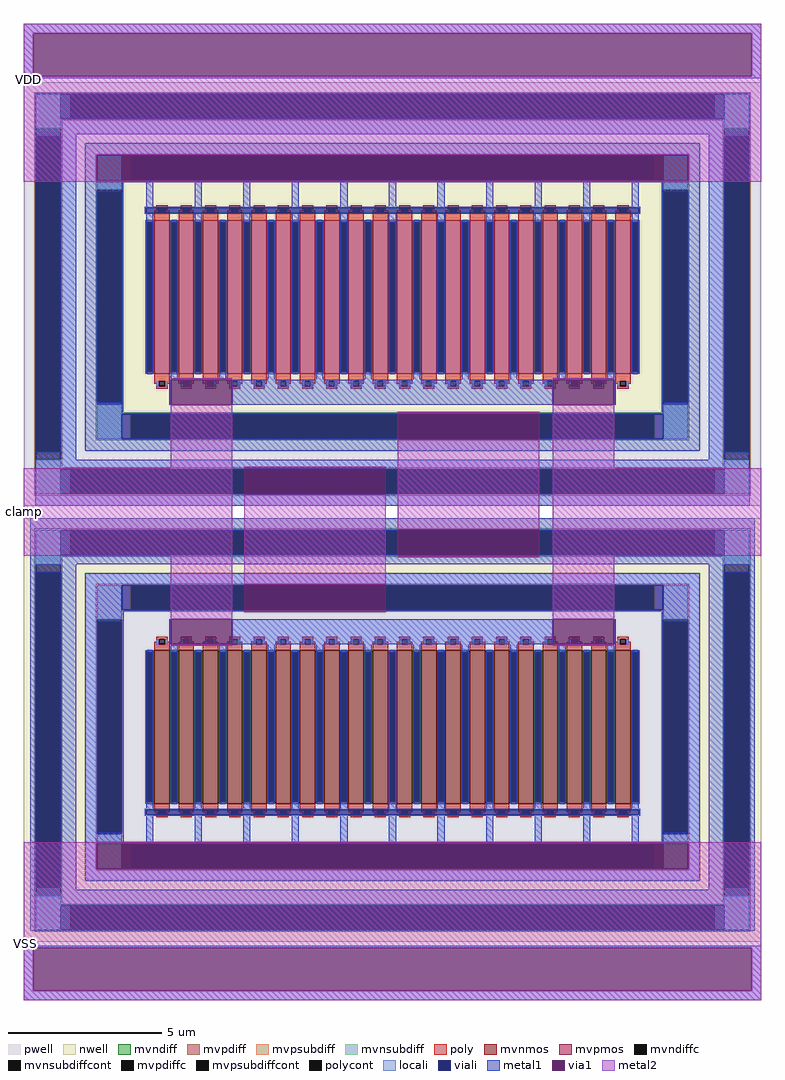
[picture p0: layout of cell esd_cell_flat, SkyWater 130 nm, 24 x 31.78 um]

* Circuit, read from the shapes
.subckt esd_cell_flat clamp VDD VSS
XM1 clamp VSS VSS VSS sky130_fd_pr__nfet_g5v0d10v5 w=5 l=0.5 m=20
XM2 clamp VDD VDD VDD sky130_fd_pr__pfet_g5v0d10v5 w=5 l=0.5 m=20
.ends

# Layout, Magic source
magic
tech sky130A
magscale 1 2
<< nwell >>
rect -2000 400 2000 2400
rect -2400 -400 2400 -40
rect -2400 -2400 -2000 -400
rect 2000 -2400 2400 -400
rect -2400 -2800 2400 -2400
<< pwell >>
rect -2400 2400 2400 2800
rect -2400 400 -2000 2400
rect 2000 400 2400 2400
rect -2400 40 2400 400
rect -2000 -2400 2000 -400
<< mvnmos >>
rect -1551 -1900 -1451 -900
rect -1393 -1900 -1293 -900
rect -1235 -1900 -1135 -900
rect -1077 -1900 -977 -900
rect -919 -1900 -819 -900
rect -761 -1900 -661 -900
rect -603 -1900 -503 -900
rect -445 -1900 -345 -900
rect -287 -1900 -187 -900
rect -129 -1900 -29 -900
rect 29 -1900 129 -900
rect 187 -1900 287 -900
rect 345 -1900 445 -900
rect 503 -1900 603 -900
rect 661 -1900 761 -900
rect 819 -1900 919 -900
rect 977 -1900 1077 -900
rect 1135 -1900 1235 -900
rect 1293 -1900 1393 -900
rect 1451 -1900 1551 -900
<< mvpmos >>
rect -1551 900 -1451 1900
rect -1393 900 -1293 1900
rect -1235 900 -1135 1900
rect -1077 900 -977 1900
rect -919 900 -819 1900
rect -761 900 -661 1900
rect -603 900 -503 1900
rect -445 900 -345 1900
rect -287 900 -187 1900
rect -129 900 -29 1900
rect 29 900 129 1900
rect 187 900 287 1900
rect 345 900 445 1900
rect 503 900 603 1900
rect 661 900 761 1900
rect 819 900 919 1900
rect 977 900 1077 1900
rect 1135 900 1235 1900
rect 1293 900 1393 1900
rect 1451 900 1551 1900
<< mvndiff >>
rect -1609 -912 -1551 -900
rect -1609 -1888 -1597 -912
rect -1563 -1888 -1551 -912
rect -1609 -1900 -1551 -1888
rect -1451 -912 -1393 -900
rect -1451 -1888 -1439 -912
rect -1405 -1888 -1393 -912
rect -1451 -1900 -1393 -1888
rect -1293 -912 -1235 -900
rect -1293 -1888 -1281 -912
rect -1247 -1888 -1235 -912
rect -1293 -1900 -1235 -1888
rect -1135 -912 -1077 -900
rect -1135 -1888 -1123 -912
rect -1089 -1888 -1077 -912
rect -1135 -1900 -1077 -1888
rect -977 -912 -919 -900
rect -977 -1888 -965 -912
rect -931 -1888 -919 -912
rect -977 -1900 -919 -1888
rect -819 -912 -761 -900
rect -819 -1888 -807 -912
rect -773 -1888 -761 -912
rect -819 -1900 -761 -1888
rect -661 -912 -603 -900
rect -661 -1888 -649 -912
rect -615 -1888 -603 -912
rect -661 -1900 -603 -1888
rect -503 -912 -445 -900
rect -503 -1888 -491 -912
rect -457 -1888 -445 -912
rect -503 -1900 -445 -1888
rect -345 -912 -287 -900
rect -345 -1888 -333 -912
rect -299 -1888 -287 -912
rect -345 -1900 -287 -1888
rect -187 -912 -129 -900
rect -187 -1888 -175 -912
rect -141 -1888 -129 -912
rect -187 -1900 -129 -1888
rect -29 -912 29 -900
rect -29 -1888 -17 -912
rect 17 -1888 29 -912
rect -29 -1900 29 -1888
rect 129 -912 187 -900
rect 129 -1888 141 -912
rect 175 -1888 187 -912
rect 129 -1900 187 -1888
rect 287 -912 345 -900
rect 287 -1888 299 -912
rect 333 -1888 345 -912
rect 287 -1900 345 -1888
rect 445 -912 503 -900
rect 445 -1888 457 -912
rect 491 -1888 503 -912
rect 445 -1900 503 -1888
rect 603 -912 661 -900
rect 603 -1888 615 -912
rect 649 -1888 661 -912
rect 603 -1900 661 -1888
rect 761 -912 819 -900
rect 761 -1888 773 -912
rect 807 -1888 819 -912
rect 761 -1900 819 -1888
rect 919 -912 977 -900
rect 919 -1888 931 -912
rect 965 -1888 977 -912
rect 919 -1900 977 -1888
rect 1077 -912 1135 -900
rect 1077 -1888 1089 -912
rect 1123 -1888 1135 -912
rect 1077 -1900 1135 -1888
rect 1235 -912 1293 -900
rect 1235 -1888 1247 -912
rect 1281 -1888 1293 -912
rect 1235 -1900 1293 -1888
rect 1393 -912 1451 -900
rect 1393 -1888 1405 -912
rect 1439 -1888 1451 -912
rect 1393 -1900 1451 -1888
rect 1551 -912 1609 -900
rect 1551 -1888 1563 -912
rect 1597 -1888 1609 -912
rect 1551 -1900 1609 -1888
<< mvpdiff >>
rect -1609 1888 -1551 1900
rect -1609 912 -1597 1888
rect -1563 912 -1551 1888
rect -1609 900 -1551 912
rect -1451 1888 -1393 1900
rect -1451 912 -1439 1888
rect -1405 912 -1393 1888
rect -1451 900 -1393 912
rect -1293 1888 -1235 1900
rect -1293 912 -1281 1888
rect -1247 912 -1235 1888
rect -1293 900 -1235 912
rect -1135 1888 -1077 1900
rect -1135 912 -1123 1888
rect -1089 912 -1077 1888
rect -1135 900 -1077 912
rect -977 1888 -919 1900
rect -977 912 -965 1888
rect -931 912 -919 1888
rect -977 900 -919 912
rect -819 1888 -761 1900
rect -819 912 -807 1888
rect -773 912 -761 1888
rect -819 900 -761 912
rect -661 1888 -603 1900
rect -661 912 -649 1888
rect -615 912 -603 1888
rect -661 900 -603 912
rect -503 1888 -445 1900
rect -503 912 -491 1888
rect -457 912 -445 1888
rect -503 900 -445 912
rect -345 1888 -287 1900
rect -345 912 -333 1888
rect -299 912 -287 1888
rect -345 900 -287 912
rect -187 1888 -129 1900
rect -187 912 -175 1888
rect -141 912 -129 1888
rect -187 900 -129 912
rect -29 1888 29 1900
rect -29 912 -17 1888
rect 17 912 29 1888
rect -29 900 29 912
rect 129 1888 187 1900
rect 129 912 141 1888
rect 175 912 187 1888
rect 129 900 187 912
rect 287 1888 345 1900
rect 287 912 299 1888
rect 333 912 345 1888
rect 287 900 345 912
rect 445 1888 503 1900
rect 445 912 457 1888
rect 491 912 503 1888
rect 445 900 503 912
rect 603 1888 661 1900
rect 603 912 615 1888
rect 649 912 661 1888
rect 603 900 661 912
rect 761 1888 819 1900
rect 761 912 773 1888
rect 807 912 819 1888
rect 761 900 819 912
rect 919 1888 977 1900
rect 919 912 931 1888
rect 965 912 977 1888
rect 919 900 977 912
rect 1077 1888 1135 1900
rect 1077 912 1089 1888
rect 1123 912 1135 1888
rect 1077 900 1135 912
rect 1235 1888 1293 1900
rect 1235 912 1247 1888
rect 1281 912 1293 1888
rect 1235 900 1293 912
rect 1393 1888 1451 1900
rect 1393 912 1405 1888
rect 1439 912 1451 1888
rect 1393 900 1451 912
rect 1551 1888 1609 1900
rect 1551 912 1563 1888
rect 1597 912 1609 1888
rect 1551 900 1609 912
<< mvndiffc >>
rect -1597 -1888 -1563 -912
rect -1439 -1888 -1405 -912
rect -1281 -1888 -1247 -912
rect -1123 -1888 -1089 -912
rect -965 -1888 -931 -912
rect -807 -1888 -773 -912
rect -649 -1888 -615 -912
rect -491 -1888 -457 -912
rect -333 -1888 -299 -912
rect -175 -1888 -141 -912
rect -17 -1888 17 -912
rect 141 -1888 175 -912
rect 299 -1888 333 -912
rect 457 -1888 491 -912
rect 615 -1888 649 -912
rect 773 -1888 807 -912
rect 931 -1888 965 -912
rect 1089 -1888 1123 -912
rect 1247 -1888 1281 -912
rect 1405 -1888 1439 -912
rect 1563 -1888 1597 -912
<< mvpdiffc >>
rect -1597 912 -1563 1888
rect -1439 912 -1405 1888
rect -1281 912 -1247 1888
rect -1123 912 -1089 1888
rect -965 912 -931 1888
rect -807 912 -773 1888
rect -649 912 -615 1888
rect -491 912 -457 1888
rect -333 912 -299 1888
rect -175 912 -141 1888
rect -17 912 17 1888
rect 141 912 175 1888
rect 299 912 333 1888
rect 457 912 491 1888
rect 615 912 649 1888
rect 773 912 807 1888
rect 931 912 965 1888
rect 1089 912 1123 1888
rect 1247 912 1281 1888
rect 1405 912 1439 1888
rect 1563 912 1597 1888
<< mvpsubdiff >>
rect -2334 2722 2334 2734
rect -2334 2562 -2100 2722
rect 2100 2562 2334 2722
rect -2334 2550 2334 2562
rect -2334 2500 -2150 2550
rect -2334 340 -2322 2500
rect -2162 340 -2150 2500
rect 2150 2500 2334 2550
rect -2334 290 -2150 340
rect 2150 340 2162 2500
rect 2322 340 2334 2500
rect 2150 290 2334 340
rect -2334 278 2334 290
rect -2334 118 -2100 278
rect 2100 118 2334 278
rect -2334 106 2334 118
rect -1934 -478 1934 -466
rect -1934 -638 -1700 -478
rect 1700 -638 1934 -478
rect -1934 -650 1934 -638
rect -1934 -700 -1750 -650
rect -1934 -2100 -1922 -700
rect -1762 -2100 -1750 -700
rect 1750 -700 1934 -650
rect -1934 -2150 -1750 -2100
rect 1750 -2100 1762 -700
rect 1922 -2100 1934 -700
rect 1750 -2150 1934 -2100
rect -1934 -2162 1934 -2150
rect -1934 -2322 -1700 -2162
rect 1700 -2322 1934 -2162
rect -1934 -2334 1934 -2322
<< mvnsubdiff >>
rect -1934 2322 1934 2334
rect -1934 2162 -1700 2322
rect 1700 2162 1934 2322
rect -1934 2150 1934 2162
rect -1934 2100 -1750 2150
rect -1934 700 -1922 2100
rect -1762 700 -1750 2100
rect 1750 2100 1934 2150
rect -1934 650 -1750 700
rect 1750 700 1762 2100
rect 1922 700 1934 2100
rect 1750 650 1934 700
rect -1934 638 1934 650
rect -1934 478 -1700 638
rect 1700 478 1934 638
rect -1934 466 1934 478
rect -2334 -118 2334 -106
rect -2334 -278 -2100 -118
rect 2100 -278 2334 -118
rect -2334 -290 2334 -278
rect -2334 -340 -2150 -290
rect -2334 -2500 -2322 -340
rect -2162 -2500 -2150 -340
rect 2150 -340 2334 -290
rect -2334 -2550 -2150 -2500
rect 2150 -2500 2162 -340
rect 2322 -2500 2334 -340
rect 2150 -2550 2334 -2500
rect -2334 -2562 2334 -2550
rect -2334 -2722 -2100 -2562
rect 2100 -2722 2334 -2562
rect -2334 -2734 2334 -2722
<< mvpsubdiffcont >>
rect -2100 2562 2100 2722
rect -2322 340 -2162 2500
rect 2162 340 2322 2500
rect -2100 118 2100 278
rect -1700 -638 1700 -478
rect -1922 -2100 -1762 -700
rect 1762 -2100 1922 -700
rect -1700 -2322 1700 -2162
<< mvnsubdiffcont >>
rect -1700 2162 1700 2322
rect -1922 700 -1762 2100
rect 1762 700 1922 2100
rect -1700 478 1700 638
rect -2100 -278 2100 -118
rect -2322 -2500 -2162 -340
rect 2162 -2500 2322 -340
rect -2100 -2722 2100 -2562
<< poly >>
rect -1537 1981 -1465 1997
rect -1537 1964 -1521 1981
rect -1551 1947 -1521 1964
rect -1481 1964 -1465 1981
rect -1379 1981 -1307 1997
rect -1379 1964 -1363 1981
rect -1481 1947 -1451 1964
rect -1551 1900 -1451 1947
rect -1393 1947 -1363 1964
rect -1323 1964 -1307 1981
rect -1221 1981 -1149 1997
rect -1221 1964 -1205 1981
rect -1323 1947 -1293 1964
rect -1393 1900 -1293 1947
rect -1235 1947 -1205 1964
rect -1165 1964 -1149 1981
rect -1063 1981 -991 1997
rect -1063 1964 -1047 1981
rect -1165 1947 -1135 1964
rect -1235 1900 -1135 1947
rect -1077 1947 -1047 1964
rect -1007 1964 -991 1981
rect -905 1981 -833 1997
rect -905 1964 -889 1981
rect -1007 1947 -977 1964
rect -1077 1900 -977 1947
rect -919 1947 -889 1964
rect -849 1964 -833 1981
rect -747 1981 -675 1997
rect -747 1964 -731 1981
rect -849 1947 -819 1964
rect -919 1900 -819 1947
rect -761 1947 -731 1964
rect -691 1964 -675 1981
rect -589 1981 -517 1997
rect -589 1964 -573 1981
rect -691 1947 -661 1964
rect -761 1900 -661 1947
rect -603 1947 -573 1964
rect -533 1964 -517 1981
rect -431 1981 -359 1997
rect -431 1964 -415 1981
rect -533 1947 -503 1964
rect -603 1900 -503 1947
rect -445 1947 -415 1964
rect -375 1964 -359 1981
rect -273 1981 -201 1997
rect -273 1964 -257 1981
rect -375 1947 -345 1964
rect -445 1900 -345 1947
rect -287 1947 -257 1964
rect -217 1964 -201 1981
rect -115 1981 -43 1997
rect -115 1964 -99 1981
rect -217 1947 -187 1964
rect -287 1900 -187 1947
rect -129 1947 -99 1964
rect -59 1964 -43 1981
rect 43 1981 115 1997
rect 43 1964 59 1981
rect -59 1947 -29 1964
rect -129 1900 -29 1947
rect 29 1947 59 1964
rect 99 1964 115 1981
rect 201 1981 273 1997
rect 201 1964 217 1981
rect 99 1947 129 1964
rect 29 1900 129 1947
rect 187 1947 217 1964
rect 257 1964 273 1981
rect 359 1981 431 1997
rect 359 1964 375 1981
rect 257 1947 287 1964
rect 187 1900 287 1947
rect 345 1947 375 1964
rect 415 1964 431 1981
rect 517 1981 589 1997
rect 517 1964 533 1981
rect 415 1947 445 1964
rect 345 1900 445 1947
rect 503 1947 533 1964
rect 573 1964 589 1981
rect 675 1981 747 1997
rect 675 1964 691 1981
rect 573 1947 603 1964
rect 503 1900 603 1947
rect 661 1947 691 1964
rect 731 1964 747 1981
rect 833 1981 905 1997
rect 833 1964 849 1981
rect 731 1947 761 1964
rect 661 1900 761 1947
rect 819 1947 849 1964
rect 889 1964 905 1981
rect 991 1981 1063 1997
rect 991 1964 1007 1981
rect 889 1947 919 1964
rect 819 1900 919 1947
rect 977 1947 1007 1964
rect 1047 1964 1063 1981
rect 1149 1981 1221 1997
rect 1149 1964 1165 1981
rect 1047 1947 1077 1964
rect 977 1900 1077 1947
rect 1135 1947 1165 1964
rect 1205 1964 1221 1981
rect 1307 1981 1379 1997
rect 1307 1964 1323 1981
rect 1205 1947 1235 1964
rect 1135 1900 1235 1947
rect 1293 1947 1323 1964
rect 1363 1964 1379 1981
rect 1465 1981 1537 1997
rect 1465 1964 1481 1981
rect 1363 1947 1393 1964
rect 1293 1900 1393 1947
rect 1451 1947 1481 1964
rect 1521 1964 1537 1981
rect 1521 1947 1551 1964
rect 1451 1900 1551 1947
rect -1551 853 -1451 900
rect -1551 836 -1521 853
rect -1537 819 -1521 836
rect -1481 836 -1451 853
rect -1393 853 -1293 900
rect -1393 836 -1363 853
rect -1481 819 -1465 836
rect -1537 803 -1465 819
rect -1379 819 -1363 836
rect -1323 836 -1293 853
rect -1235 853 -1135 900
rect -1235 836 -1205 853
rect -1323 819 -1307 836
rect -1379 803 -1307 819
rect -1221 819 -1205 836
rect -1165 836 -1135 853
rect -1077 853 -977 900
rect -1077 836 -1047 853
rect -1165 819 -1149 836
rect -1221 803 -1149 819
rect -1063 819 -1047 836
rect -1007 836 -977 853
rect -919 853 -819 900
rect -919 836 -889 853
rect -1007 819 -991 836
rect -1063 803 -991 819
rect -905 819 -889 836
rect -849 836 -819 853
rect -761 853 -661 900
rect -761 836 -731 853
rect -849 819 -833 836
rect -905 803 -833 819
rect -747 819 -731 836
rect -691 836 -661 853
rect -603 853 -503 900
rect -603 836 -573 853
rect -691 819 -675 836
rect -747 803 -675 819
rect -589 819 -573 836
rect -533 836 -503 853
rect -445 853 -345 900
rect -445 836 -415 853
rect -533 819 -517 836
rect -589 803 -517 819
rect -431 819 -415 836
rect -375 836 -345 853
rect -287 853 -187 900
rect -287 836 -257 853
rect -375 819 -359 836
rect -431 803 -359 819
rect -273 819 -257 836
rect -217 836 -187 853
rect -129 853 -29 900
rect -129 836 -99 853
rect -217 819 -201 836
rect -273 803 -201 819
rect -115 819 -99 836
rect -59 836 -29 853
rect 29 853 129 900
rect 29 836 59 853
rect -59 819 -43 836
rect -115 803 -43 819
rect 43 819 59 836
rect 99 836 129 853
rect 187 853 287 900
rect 187 836 217 853
rect 99 819 115 836
rect 43 803 115 819
rect 201 819 217 836
rect 257 836 287 853
rect 345 853 445 900
rect 345 836 375 853
rect 257 819 273 836
rect 201 803 273 819
rect 359 819 375 836
rect 415 836 445 853
rect 503 853 603 900
rect 503 836 533 853
rect 415 819 431 836
rect 359 803 431 819
rect 517 819 533 836
rect 573 836 603 853
rect 661 853 761 900
rect 661 836 691 853
rect 573 819 589 836
rect 517 803 589 819
rect 675 819 691 836
rect 731 836 761 853
rect 819 853 919 900
rect 819 836 849 853
rect 731 819 747 836
rect 675 803 747 819
rect 833 819 849 836
rect 889 836 919 853
rect 977 853 1077 900
rect 977 836 1007 853
rect 889 819 905 836
rect 833 803 905 819
rect 991 819 1007 836
rect 1047 836 1077 853
rect 1135 853 1235 900
rect 1135 836 1165 853
rect 1047 819 1063 836
rect 991 803 1063 819
rect 1149 819 1165 836
rect 1205 836 1235 853
rect 1293 853 1393 900
rect 1293 836 1323 853
rect 1205 819 1221 836
rect 1149 803 1221 819
rect 1307 819 1323 836
rect 1363 836 1393 853
rect 1451 853 1551 900
rect 1451 836 1481 853
rect 1363 819 1379 836
rect 1307 803 1379 819
rect 1465 819 1481 836
rect 1521 836 1551 853
rect 1521 819 1537 836
rect 1465 803 1537 819
rect -1537 -828 -1465 -812
rect -1537 -845 -1521 -828
rect -1551 -862 -1521 -845
rect -1481 -845 -1465 -828
rect -1379 -828 -1307 -812
rect -1379 -845 -1363 -828
rect -1481 -862 -1451 -845
rect -1551 -900 -1451 -862
rect -1393 -862 -1363 -845
rect -1323 -845 -1307 -828
rect -1221 -828 -1149 -812
rect -1221 -845 -1205 -828
rect -1323 -862 -1293 -845
rect -1393 -900 -1293 -862
rect -1235 -862 -1205 -845
rect -1165 -845 -1149 -828
rect -1063 -828 -991 -812
rect -1063 -845 -1047 -828
rect -1165 -862 -1135 -845
rect -1235 -900 -1135 -862
rect -1077 -862 -1047 -845
rect -1007 -845 -991 -828
rect -905 -828 -833 -812
rect -905 -845 -889 -828
rect -1007 -862 -977 -845
rect -1077 -900 -977 -862
rect -919 -862 -889 -845
rect -849 -845 -833 -828
rect -747 -828 -675 -812
rect -747 -845 -731 -828
rect -849 -862 -819 -845
rect -919 -900 -819 -862
rect -761 -862 -731 -845
rect -691 -845 -675 -828
rect -589 -828 -517 -812
rect -589 -845 -573 -828
rect -691 -862 -661 -845
rect -761 -900 -661 -862
rect -603 -862 -573 -845
rect -533 -845 -517 -828
rect -431 -828 -359 -812
rect -431 -845 -415 -828
rect -533 -862 -503 -845
rect -603 -900 -503 -862
rect -445 -862 -415 -845
rect -375 -845 -359 -828
rect -273 -828 -201 -812
rect -273 -845 -257 -828
rect -375 -862 -345 -845
rect -445 -900 -345 -862
rect -287 -862 -257 -845
rect -217 -845 -201 -828
rect -115 -828 -43 -812
rect -115 -845 -99 -828
rect -217 -862 -187 -845
rect -287 -900 -187 -862
rect -129 -862 -99 -845
rect -59 -845 -43 -828
rect 43 -828 115 -812
rect 43 -845 59 -828
rect -59 -862 -29 -845
rect -129 -900 -29 -862
rect 29 -862 59 -845
rect 99 -845 115 -828
rect 201 -828 273 -812
rect 201 -845 217 -828
rect 99 -862 129 -845
rect 29 -900 129 -862
rect 187 -862 217 -845
rect 257 -845 273 -828
rect 359 -828 431 -812
rect 359 -845 375 -828
rect 257 -862 287 -845
rect 187 -900 287 -862
rect 345 -862 375 -845
rect 415 -845 431 -828
rect 517 -828 589 -812
rect 517 -845 533 -828
rect 415 -862 445 -845
rect 345 -900 445 -862
rect 503 -862 533 -845
rect 573 -845 589 -828
rect 675 -828 747 -812
rect 675 -845 691 -828
rect 573 -862 603 -845
rect 503 -900 603 -862
rect 661 -862 691 -845
rect 731 -845 747 -828
rect 833 -828 905 -812
rect 833 -845 849 -828
rect 731 -862 761 -845
rect 661 -900 761 -862
rect 819 -862 849 -845
rect 889 -845 905 -828
rect 991 -828 1063 -812
rect 991 -845 1007 -828
rect 889 -862 919 -845
rect 819 -900 919 -862
rect 977 -862 1007 -845
rect 1047 -845 1063 -828
rect 1149 -828 1221 -812
rect 1149 -845 1165 -828
rect 1047 -862 1077 -845
rect 977 -900 1077 -862
rect 1135 -862 1165 -845
rect 1205 -845 1221 -828
rect 1307 -828 1379 -812
rect 1307 -845 1323 -828
rect 1205 -862 1235 -845
rect 1135 -900 1235 -862
rect 1293 -862 1323 -845
rect 1363 -845 1379 -828
rect 1465 -828 1537 -812
rect 1465 -845 1481 -828
rect 1363 -862 1393 -845
rect 1293 -900 1393 -862
rect 1451 -862 1481 -845
rect 1521 -845 1537 -828
rect 1521 -862 1551 -845
rect 1451 -900 1551 -862
rect -1551 -1938 -1451 -1900
rect -1551 -1955 -1521 -1938
rect -1537 -1972 -1521 -1955
rect -1481 -1955 -1451 -1938
rect -1393 -1938 -1293 -1900
rect -1393 -1955 -1363 -1938
rect -1481 -1972 -1465 -1955
rect -1537 -1988 -1465 -1972
rect -1379 -1972 -1363 -1955
rect -1323 -1955 -1293 -1938
rect -1235 -1938 -1135 -1900
rect -1235 -1955 -1205 -1938
rect -1323 -1972 -1307 -1955
rect -1379 -1988 -1307 -1972
rect -1221 -1972 -1205 -1955
rect -1165 -1955 -1135 -1938
rect -1077 -1938 -977 -1900
rect -1077 -1955 -1047 -1938
rect -1165 -1972 -1149 -1955
rect -1221 -1988 -1149 -1972
rect -1063 -1972 -1047 -1955
rect -1007 -1955 -977 -1938
rect -919 -1938 -819 -1900
rect -919 -1955 -889 -1938
rect -1007 -1972 -991 -1955
rect -1063 -1988 -991 -1972
rect -905 -1972 -889 -1955
rect -849 -1955 -819 -1938
rect -761 -1938 -661 -1900
rect -761 -1955 -731 -1938
rect -849 -1972 -833 -1955
rect -905 -1988 -833 -1972
rect -747 -1972 -731 -1955
rect -691 -1955 -661 -1938
rect -603 -1938 -503 -1900
rect -603 -1955 -573 -1938
rect -691 -1972 -675 -1955
rect -747 -1988 -675 -1972
rect -589 -1972 -573 -1955
rect -533 -1955 -503 -1938
rect -445 -1938 -345 -1900
rect -445 -1955 -415 -1938
rect -533 -1972 -517 -1955
rect -589 -1988 -517 -1972
rect -431 -1972 -415 -1955
rect -375 -1955 -345 -1938
rect -287 -1938 -187 -1900
rect -287 -1955 -257 -1938
rect -375 -1972 -359 -1955
rect -431 -1988 -359 -1972
rect -273 -1972 -257 -1955
rect -217 -1955 -187 -1938
rect -129 -1938 -29 -1900
rect -129 -1955 -99 -1938
rect -217 -1972 -201 -1955
rect -273 -1988 -201 -1972
rect -115 -1972 -99 -1955
rect -59 -1955 -29 -1938
rect 29 -1938 129 -1900
rect 29 -1955 59 -1938
rect -59 -1972 -43 -1955
rect -115 -1988 -43 -1972
rect 43 -1972 59 -1955
rect 99 -1955 129 -1938
rect 187 -1938 287 -1900
rect 187 -1955 217 -1938
rect 99 -1972 115 -1955
rect 43 -1988 115 -1972
rect 201 -1972 217 -1955
rect 257 -1955 287 -1938
rect 345 -1938 445 -1900
rect 345 -1955 375 -1938
rect 257 -1972 273 -1955
rect 201 -1988 273 -1972
rect 359 -1972 375 -1955
rect 415 -1955 445 -1938
rect 503 -1938 603 -1900
rect 503 -1955 533 -1938
rect 415 -1972 431 -1955
rect 359 -1988 431 -1972
rect 517 -1972 533 -1955
rect 573 -1955 603 -1938
rect 661 -1938 761 -1900
rect 661 -1955 691 -1938
rect 573 -1972 589 -1955
rect 517 -1988 589 -1972
rect 675 -1972 691 -1955
rect 731 -1955 761 -1938
rect 819 -1938 919 -1900
rect 819 -1955 849 -1938
rect 731 -1972 747 -1955
rect 675 -1988 747 -1972
rect 833 -1972 849 -1955
rect 889 -1955 919 -1938
rect 977 -1938 1077 -1900
rect 977 -1955 1007 -1938
rect 889 -1972 905 -1955
rect 833 -1988 905 -1972
rect 991 -1972 1007 -1955
rect 1047 -1955 1077 -1938
rect 1135 -1938 1235 -1900
rect 1135 -1955 1165 -1938
rect 1047 -1972 1063 -1955
rect 991 -1988 1063 -1972
rect 1149 -1972 1165 -1955
rect 1205 -1955 1235 -1938
rect 1293 -1938 1393 -1900
rect 1293 -1955 1323 -1938
rect 1205 -1972 1221 -1955
rect 1149 -1988 1221 -1972
rect 1307 -1972 1323 -1955
rect 1363 -1955 1393 -1938
rect 1451 -1938 1551 -1900
rect 1451 -1955 1481 -1938
rect 1363 -1972 1379 -1955
rect 1307 -1988 1379 -1972
rect 1465 -1972 1481 -1955
rect 1521 -1955 1551 -1938
rect 1521 -1972 1537 -1955
rect 1465 -1988 1537 -1972
<< polycont >>
rect -1521 1947 -1481 1981
rect -1363 1947 -1323 1981
rect -1205 1947 -1165 1981
rect -1047 1947 -1007 1981
rect -889 1947 -849 1981
rect -731 1947 -691 1981
rect -573 1947 -533 1981
rect -415 1947 -375 1981
rect -257 1947 -217 1981
rect -99 1947 -59 1981
rect 59 1947 99 1981
rect 217 1947 257 1981
rect 375 1947 415 1981
rect 533 1947 573 1981
rect 691 1947 731 1981
rect 849 1947 889 1981
rect 1007 1947 1047 1981
rect 1165 1947 1205 1981
rect 1323 1947 1363 1981
rect 1481 1947 1521 1981
rect -1521 819 -1481 853
rect -1363 819 -1323 853
rect -1205 819 -1165 853
rect -1047 819 -1007 853
rect -889 819 -849 853
rect -731 819 -691 853
rect -573 819 -533 853
rect -415 819 -375 853
rect -257 819 -217 853
rect -99 819 -59 853
rect 59 819 99 853
rect 217 819 257 853
rect 375 819 415 853
rect 533 819 573 853
rect 691 819 731 853
rect 849 819 889 853
rect 1007 819 1047 853
rect 1165 819 1205 853
rect 1323 819 1363 853
rect 1481 819 1521 853
rect -1521 -862 -1481 -828
rect -1363 -862 -1323 -828
rect -1205 -862 -1165 -828
rect -1047 -862 -1007 -828
rect -889 -862 -849 -828
rect -731 -862 -691 -828
rect -573 -862 -533 -828
rect -415 -862 -375 -828
rect -257 -862 -217 -828
rect -99 -862 -59 -828
rect 59 -862 99 -828
rect 217 -862 257 -828
rect 375 -862 415 -828
rect 533 -862 573 -828
rect 691 -862 731 -828
rect 849 -862 889 -828
rect 1007 -862 1047 -828
rect 1165 -862 1205 -828
rect 1323 -862 1363 -828
rect 1481 -862 1521 -828
rect -1521 -1972 -1481 -1938
rect -1363 -1972 -1323 -1938
rect -1205 -1972 -1165 -1938
rect -1047 -1972 -1007 -1938
rect -889 -1972 -849 -1938
rect -731 -1972 -691 -1938
rect -573 -1972 -533 -1938
rect -415 -1972 -375 -1938
rect -257 -1972 -217 -1938
rect -99 -1972 -59 -1938
rect 59 -1972 99 -1938
rect 217 -1972 257 -1938
rect 375 -1972 415 -1938
rect 533 -1972 573 -1938
rect 691 -1972 731 -1938
rect 849 -1972 889 -1938
rect 1007 -1972 1047 -1938
rect 1165 -1972 1205 -1938
rect 1323 -1972 1363 -1938
rect 1481 -1972 1521 -1938
<< locali >>
rect -2322 2500 -2162 2722
rect 2162 2500 2322 2722
rect -1922 2100 -1762 2322
rect 1762 2100 1922 2322
rect -1597 1888 -1563 1904
rect -1597 896 -1563 912
rect -1439 1888 -1405 1904
rect -1439 896 -1405 912
rect -1281 1888 -1247 1904
rect -1281 896 -1247 912
rect -1123 1888 -1089 1904
rect -1123 896 -1089 912
rect -965 1888 -931 1904
rect -965 896 -931 912
rect -807 1888 -773 1904
rect -807 896 -773 912
rect -649 1888 -615 1904
rect -649 896 -615 912
rect -491 1888 -457 1904
rect -491 896 -457 912
rect -333 1888 -299 1904
rect -333 896 -299 912
rect -175 1888 -141 1904
rect -175 896 -141 912
rect -17 1888 17 1904
rect -17 896 17 912
rect 141 1888 175 1904
rect 141 896 175 912
rect 299 1888 333 1904
rect 299 896 333 912
rect 457 1888 491 1904
rect 457 896 491 912
rect 615 1888 649 1904
rect 615 896 649 912
rect 773 1888 807 1904
rect 773 896 807 912
rect 931 1888 965 1904
rect 931 896 965 912
rect 1089 1888 1123 1904
rect 1089 896 1123 912
rect 1247 1888 1281 1904
rect 1247 896 1281 912
rect 1405 1888 1439 1904
rect 1405 896 1439 912
rect 1563 1888 1597 1904
rect 1563 896 1597 912
rect -1537 819 -1521 853
rect -1481 819 -1465 853
rect -1379 819 -1363 853
rect -1323 819 -1307 853
rect -1221 819 -1205 853
rect -1165 819 -1149 853
rect -1063 819 -1047 853
rect -1007 819 -991 853
rect -905 819 -889 853
rect -849 819 -833 853
rect -747 819 -731 853
rect -691 819 -675 853
rect -589 819 -573 853
rect -533 819 -517 853
rect -431 819 -415 853
rect -375 819 -359 853
rect -273 819 -257 853
rect -217 819 -201 853
rect -115 819 -99 853
rect -59 819 -43 853
rect 43 819 59 853
rect 99 819 115 853
rect 201 819 217 853
rect 257 819 273 853
rect 359 819 375 853
rect 415 819 431 853
rect 517 819 533 853
rect 573 819 589 853
rect 675 819 691 853
rect 731 819 747 853
rect 833 819 849 853
rect 889 819 905 853
rect 991 819 1007 853
rect 1047 819 1063 853
rect 1149 819 1165 853
rect 1205 819 1221 853
rect 1307 819 1323 853
rect 1363 819 1379 853
rect 1465 819 1481 853
rect 1521 819 1537 853
rect -1922 478 -1762 700
rect 1762 478 1922 700
rect -2322 118 -2162 340
rect 2162 118 2322 340
rect -2322 -340 -2162 -118
rect 2162 -340 2322 -118
rect -1922 -700 -1762 -478
rect 1762 -700 1922 -478
rect -1537 -862 -1521 -828
rect -1481 -862 -1465 -828
rect -1379 -862 -1363 -828
rect -1323 -862 -1307 -828
rect -1221 -862 -1205 -828
rect -1165 -862 -1149 -828
rect -1063 -862 -1047 -828
rect -1007 -862 -991 -828
rect -905 -862 -889 -828
rect -849 -862 -833 -828
rect -747 -862 -731 -828
rect -691 -862 -675 -828
rect -589 -862 -573 -828
rect -533 -862 -517 -828
rect -431 -862 -415 -828
rect -375 -862 -359 -828
rect -273 -862 -257 -828
rect -217 -862 -201 -828
rect -115 -862 -99 -828
rect -59 -862 -43 -828
rect 43 -862 59 -828
rect 99 -862 115 -828
rect 201 -862 217 -828
rect 257 -862 273 -828
rect 359 -862 375 -828
rect 415 -862 431 -828
rect 517 -862 533 -828
rect 573 -862 589 -828
rect 675 -862 691 -828
rect 731 -862 747 -828
rect 833 -862 849 -828
rect 889 -862 905 -828
rect 991 -862 1007 -828
rect 1047 -862 1063 -828
rect 1149 -862 1165 -828
rect 1205 -862 1221 -828
rect 1307 -862 1323 -828
rect 1363 -862 1379 -828
rect 1465 -862 1481 -828
rect 1521 -862 1537 -828
rect -1597 -912 -1563 -896
rect -1597 -1904 -1563 -1888
rect -1439 -912 -1405 -896
rect -1439 -1904 -1405 -1888
rect -1281 -912 -1247 -896
rect -1281 -1904 -1247 -1888
rect -1123 -912 -1089 -896
rect -1123 -1904 -1089 -1888
rect -965 -912 -931 -896
rect -965 -1904 -931 -1888
rect -807 -912 -773 -896
rect -807 -1904 -773 -1888
rect -649 -912 -615 -896
rect -649 -1904 -615 -1888
rect -491 -912 -457 -896
rect -491 -1904 -457 -1888
rect -333 -912 -299 -896
rect -333 -1904 -299 -1888
rect -175 -912 -141 -896
rect -175 -1904 -141 -1888
rect -17 -912 17 -896
rect -17 -1904 17 -1888
rect 141 -912 175 -896
rect 141 -1904 175 -1888
rect 299 -912 333 -896
rect 299 -1904 333 -1888
rect 457 -912 491 -896
rect 457 -1904 491 -1888
rect 615 -912 649 -896
rect 615 -1904 649 -1888
rect 773 -912 807 -896
rect 773 -1904 807 -1888
rect 931 -912 965 -896
rect 931 -1904 965 -1888
rect 1089 -912 1123 -896
rect 1089 -1904 1123 -1888
rect 1247 -912 1281 -896
rect 1247 -1904 1281 -1888
rect 1405 -912 1439 -896
rect 1405 -1904 1439 -1888
rect 1563 -912 1597 -896
rect 1563 -1904 1597 -1888
rect -1922 -2322 -1762 -2100
rect 1762 -2322 1922 -2100
rect -2322 -2722 -2162 -2500
rect 2162 -2722 2322 -2500
<< viali >>
rect -2162 2562 -2100 2722
rect -2100 2562 2100 2722
rect 2100 2562 2162 2722
rect -2322 392 -2162 2448
rect -1762 2162 -1700 2322
rect -1700 2162 1700 2322
rect 1700 2162 1762 2322
rect -1922 714 -1762 2086
rect -1603 1947 -1521 1981
rect -1521 1947 -1481 1981
rect -1481 1947 -1363 1981
rect -1363 1947 -1323 1981
rect -1323 1947 -1205 1981
rect -1205 1947 -1165 1981
rect -1165 1947 -1047 1981
rect -1047 1947 -1007 1981
rect -1007 1947 -889 1981
rect -889 1947 -849 1981
rect -849 1947 -731 1981
rect -731 1947 -691 1981
rect -691 1947 -573 1981
rect -573 1947 -533 1981
rect -533 1947 -415 1981
rect -415 1947 -375 1981
rect -375 1947 -257 1981
rect -257 1947 -217 1981
rect -217 1947 -99 1981
rect -99 1947 -59 1981
rect -59 1947 59 1981
rect 59 1947 99 1981
rect 99 1947 217 1981
rect 217 1947 257 1981
rect 257 1947 375 1981
rect 375 1947 415 1981
rect 415 1947 533 1981
rect 533 1947 573 1981
rect 573 1947 691 1981
rect 691 1947 731 1981
rect 731 1947 849 1981
rect 849 1947 889 1981
rect 889 1947 1007 1981
rect 1007 1947 1047 1981
rect 1047 1947 1165 1981
rect 1165 1947 1205 1981
rect 1205 1947 1323 1981
rect 1323 1947 1363 1981
rect 1363 1947 1481 1981
rect 1481 1947 1521 1981
rect 1521 1947 1603 1981
rect -1597 912 -1563 1888
rect -1439 912 -1405 1888
rect -1281 912 -1247 1888
rect -1123 912 -1089 1888
rect -965 912 -931 1888
rect -807 912 -773 1888
rect -649 912 -615 1888
rect -491 912 -457 1888
rect -333 912 -299 1888
rect -175 912 -141 1888
rect -17 912 17 1888
rect 141 912 175 1888
rect 299 912 333 1888
rect 457 912 491 1888
rect 615 912 649 1888
rect 773 912 807 1888
rect 931 912 965 1888
rect 1089 912 1123 1888
rect 1247 912 1281 1888
rect 1405 912 1439 1888
rect 1563 912 1597 1888
rect 1762 714 1922 2086
rect -1762 478 -1700 638
rect -1700 478 1700 638
rect 1700 478 1762 638
rect 2162 392 2322 2448
rect -2162 118 -2100 278
rect -2100 118 2100 278
rect 2100 118 2162 278
rect -2162 -278 -2100 -118
rect -2100 -278 2100 -118
rect 2100 -278 2162 -118
rect -2322 -2448 -2162 -392
rect -1762 -638 -1700 -478
rect -1700 -638 1700 -478
rect 1700 -638 1762 -478
rect -1922 -2086 -1762 -714
rect -1597 -1888 -1563 -912
rect -1439 -1888 -1405 -912
rect -1281 -1888 -1247 -912
rect -1123 -1888 -1089 -912
rect -965 -1888 -931 -912
rect -807 -1888 -773 -912
rect -649 -1888 -615 -912
rect -491 -1888 -457 -912
rect -333 -1888 -299 -912
rect -175 -1888 -141 -912
rect -17 -1888 17 -912
rect 141 -1888 175 -912
rect 299 -1888 333 -912
rect 457 -1888 491 -912
rect 615 -1888 649 -912
rect 773 -1888 807 -912
rect 931 -1888 965 -912
rect 1089 -1888 1123 -912
rect 1247 -1888 1281 -912
rect 1405 -1888 1439 -912
rect 1563 -1888 1597 -912
rect -1603 -1972 -1521 -1938
rect -1521 -1972 -1481 -1938
rect -1481 -1972 -1363 -1938
rect -1363 -1972 -1323 -1938
rect -1323 -1972 -1205 -1938
rect -1205 -1972 -1165 -1938
rect -1165 -1972 -1047 -1938
rect -1047 -1972 -1007 -1938
rect -1007 -1972 -889 -1938
rect -889 -1972 -849 -1938
rect -849 -1972 -731 -1938
rect -731 -1972 -691 -1938
rect -691 -1972 -573 -1938
rect -573 -1972 -533 -1938
rect -533 -1972 -415 -1938
rect -415 -1972 -375 -1938
rect -375 -1972 -257 -1938
rect -257 -1972 -217 -1938
rect -217 -1972 -99 -1938
rect -99 -1972 -59 -1938
rect -59 -1972 59 -1938
rect 59 -1972 99 -1938
rect 99 -1972 217 -1938
rect 217 -1972 257 -1938
rect 257 -1972 375 -1938
rect 375 -1972 415 -1938
rect 415 -1972 533 -1938
rect 533 -1972 573 -1938
rect 573 -1972 691 -1938
rect 691 -1972 731 -1938
rect 731 -1972 849 -1938
rect 849 -1972 889 -1938
rect 889 -1972 1007 -1938
rect 1007 -1972 1047 -1938
rect 1047 -1972 1165 -1938
rect 1165 -1972 1205 -1938
rect 1205 -1972 1323 -1938
rect 1323 -1972 1363 -1938
rect 1363 -1972 1481 -1938
rect 1481 -1972 1521 -1938
rect 1521 -1972 1603 -1938
rect 1762 -2086 1922 -714
rect -1762 -2322 -1700 -2162
rect -1700 -2322 1700 -2162
rect 1700 -2322 1762 -2162
rect 2162 -2448 2322 -392
rect -2162 -2722 -2100 -2562
rect -2100 -2722 2100 -2562
rect 2100 -2722 2162 -2562
<< metal1 >>
rect -2400 3118 2400 3178
rect -2400 2838 -2340 3118
rect 2340 2838 2400 3118
rect -2400 2824 2400 2838
rect -2328 2722 2328 2728
rect -2328 2562 -2162 2722
rect 2162 2562 2328 2722
rect -2328 2460 2328 2562
rect -2328 2448 -2060 2460
rect -2328 392 -2322 2448
rect -2162 392 -2060 2448
rect 2061 2448 2328 2460
rect -2000 2328 2000 2400
rect -2000 2156 -1928 2328
rect 1928 2156 2000 2328
rect -2000 2086 -1756 2156
rect -2000 714 -1922 2086
rect -1762 714 -1756 2086
rect -1603 1987 -1557 2156
rect -1287 1987 -1241 2156
rect -971 1987 -925 2156
rect -655 1987 -609 2156
rect -339 1987 -293 2156
rect -23 1987 23 2156
rect 293 1987 339 2156
rect 609 1987 655 2156
rect 925 1987 971 2156
rect 1241 1987 1287 2156
rect 1557 1987 1603 2156
rect 1756 2086 2000 2156
rect -1615 1981 1615 1987
rect -1615 1947 -1603 1981
rect 1603 1947 1615 1981
rect -1615 1941 1615 1947
rect -1603 1888 -1557 1941
rect -1603 912 -1597 1888
rect -1563 912 -1557 1888
rect -1603 900 -1557 912
rect -1445 1888 -1399 1900
rect -1445 912 -1439 1888
rect -1405 912 -1399 1888
rect -1445 860 -1399 912
rect -1287 1888 -1241 1941
rect -1287 912 -1281 1888
rect -1247 912 -1241 1888
rect -1287 900 -1241 912
rect -1129 1888 -1083 1900
rect -1129 912 -1123 1888
rect -1089 912 -1083 1888
rect -1129 860 -1083 912
rect -971 1888 -925 1941
rect -971 912 -965 1888
rect -931 912 -925 1888
rect -971 900 -925 912
rect -813 1888 -767 1900
rect -813 912 -807 1888
rect -773 912 -767 1888
rect -813 860 -767 912
rect -655 1888 -609 1941
rect -655 912 -649 1888
rect -615 912 -609 1888
rect -655 900 -609 912
rect -497 1888 -451 1900
rect -497 912 -491 1888
rect -457 912 -451 1888
rect -497 860 -451 912
rect -339 1888 -293 1941
rect -339 912 -333 1888
rect -299 912 -293 1888
rect -339 900 -293 912
rect -181 1888 -135 1900
rect -181 912 -175 1888
rect -141 912 -135 1888
rect -181 860 -135 912
rect -23 1888 23 1941
rect -23 912 -17 1888
rect 17 912 23 1888
rect -23 900 23 912
rect 135 1888 181 1900
rect 135 912 141 1888
rect 175 912 181 1888
rect 135 860 181 912
rect 293 1888 339 1941
rect 293 912 299 1888
rect 333 912 339 1888
rect 293 900 339 912
rect 451 1888 497 1900
rect 451 912 457 1888
rect 491 912 497 1888
rect 451 860 497 912
rect 609 1888 655 1941
rect 609 912 615 1888
rect 649 912 655 1888
rect 609 900 655 912
rect 767 1888 813 1900
rect 767 912 773 1888
rect 807 912 813 1888
rect 767 860 813 912
rect 925 1888 971 1941
rect 925 912 931 1888
rect 965 912 971 1888
rect 925 900 971 912
rect 1083 1888 1129 1900
rect 1083 912 1089 1888
rect 1123 912 1129 1888
rect 1083 860 1129 912
rect 1241 1888 1287 1941
rect 1241 912 1247 1888
rect 1281 912 1287 1888
rect 1241 900 1287 912
rect 1399 1888 1445 1900
rect 1399 912 1405 1888
rect 1439 912 1445 1888
rect 1399 860 1445 912
rect 1557 1888 1603 1941
rect 1557 912 1563 1888
rect 1597 912 1603 1888
rect 1557 900 1603 912
rect -2000 644 -1756 714
rect -1455 700 -1445 860
rect -1045 700 1045 860
rect 1445 700 1455 860
rect 1756 714 1762 2086
rect 1922 714 2000 2086
rect 1756 644 2000 714
rect -2000 638 35 644
rect 955 638 2000 644
rect -2000 478 -1762 638
rect 1762 478 2000 638
rect -2000 472 35 478
rect 955 472 2000 478
rect -2000 400 2000 472
rect -2328 340 -2060 392
rect 2061 392 2162 2448
rect 2322 392 2328 2448
rect 2061 340 2328 392
rect -2328 284 2328 340
rect -2328 278 -965 284
rect -45 278 2328 284
rect -2328 118 -2162 278
rect 2162 118 2328 278
rect -2328 112 -965 118
rect -45 112 2328 118
rect -2328 40 2328 112
rect -2360 -112 2360 -40
rect -2360 -118 35 -112
rect 955 -118 2360 -112
rect -2360 -278 -2162 -118
rect 2162 -278 2360 -118
rect -2360 -284 35 -278
rect 955 -284 2360 -278
rect -2360 -340 2360 -284
rect -2360 -392 -2060 -340
rect -2360 -2448 -2322 -392
rect -2162 -2448 -2060 -392
rect 2060 -392 2360 -340
rect -2000 -472 2000 -400
rect -2000 -478 -965 -472
rect -45 -478 2000 -472
rect -2000 -638 -1762 -478
rect 1762 -638 2000 -478
rect -2000 -644 -965 -638
rect -45 -644 2000 -638
rect -2000 -714 -1750 -644
rect -2000 -2086 -1922 -714
rect -1762 -2086 -1750 -714
rect -1455 -860 -1445 -700
rect -1045 -860 1045 -700
rect 1445 -860 1455 -700
rect 1756 -714 2000 -644
rect -1603 -912 -1557 -900
rect -1603 -1888 -1597 -912
rect -1563 -1888 -1557 -912
rect -1603 -1932 -1557 -1888
rect -1445 -912 -1399 -860
rect -1445 -1888 -1439 -912
rect -1405 -1888 -1399 -912
rect -1445 -1900 -1399 -1888
rect -1287 -912 -1241 -900
rect -1287 -1888 -1281 -912
rect -1247 -1888 -1241 -912
rect -1287 -1932 -1241 -1888
rect -1129 -912 -1083 -860
rect -1129 -1888 -1123 -912
rect -1089 -1888 -1083 -912
rect -1129 -1900 -1083 -1888
rect -971 -912 -925 -900
rect -971 -1888 -965 -912
rect -931 -1888 -925 -912
rect -971 -1932 -925 -1888
rect -813 -912 -767 -860
rect -813 -1888 -807 -912
rect -773 -1888 -767 -912
rect -813 -1900 -767 -1888
rect -655 -912 -609 -900
rect -655 -1888 -649 -912
rect -615 -1888 -609 -912
rect -655 -1932 -609 -1888
rect -497 -912 -451 -860
rect -497 -1888 -491 -912
rect -457 -1888 -451 -912
rect -497 -1900 -451 -1888
rect -339 -912 -293 -900
rect -339 -1888 -333 -912
rect -299 -1888 -293 -912
rect -339 -1932 -293 -1888
rect -181 -912 -135 -860
rect -181 -1888 -175 -912
rect -141 -1888 -135 -912
rect -181 -1900 -135 -1888
rect -23 -912 23 -900
rect -23 -1888 -17 -912
rect 17 -1888 23 -912
rect -23 -1932 23 -1888
rect 135 -912 181 -860
rect 135 -1888 141 -912
rect 175 -1888 181 -912
rect 135 -1900 181 -1888
rect 293 -912 339 -900
rect 293 -1888 299 -912
rect 333 -1888 339 -912
rect 293 -1932 339 -1888
rect 451 -912 497 -860
rect 451 -1888 457 -912
rect 491 -1888 497 -912
rect 451 -1900 497 -1888
rect 609 -912 655 -900
rect 609 -1888 615 -912
rect 649 -1888 655 -912
rect 609 -1932 655 -1888
rect 767 -912 813 -860
rect 767 -1888 773 -912
rect 807 -1888 813 -912
rect 767 -1900 813 -1888
rect 925 -912 971 -900
rect 925 -1888 931 -912
rect 965 -1888 971 -912
rect 925 -1932 971 -1888
rect 1083 -912 1129 -860
rect 1083 -1888 1089 -912
rect 1123 -1888 1129 -912
rect 1083 -1900 1129 -1888
rect 1241 -912 1287 -900
rect 1241 -1888 1247 -912
rect 1281 -1888 1287 -912
rect 1241 -1932 1287 -1888
rect 1399 -912 1445 -860
rect 1399 -1888 1405 -912
rect 1439 -1888 1445 -912
rect 1399 -1900 1445 -1888
rect 1557 -912 1603 -900
rect 1557 -1888 1563 -912
rect 1597 -1888 1603 -912
rect 1557 -1932 1603 -1888
rect -1615 -1938 1615 -1932
rect -1615 -1972 -1603 -1938
rect 1603 -1972 1615 -1938
rect -1615 -1978 1615 -1972
rect -2000 -2156 -1750 -2086
rect -1603 -2156 -1557 -1978
rect -1287 -2156 -1241 -1978
rect -971 -2156 -925 -1978
rect -655 -2156 -609 -1978
rect -339 -2156 -293 -1978
rect -23 -2156 23 -1978
rect 293 -2156 339 -1978
rect 609 -2156 655 -1978
rect 925 -2156 971 -1978
rect 1241 -2156 1287 -1978
rect 1557 -2156 1603 -1978
rect 1756 -2086 1762 -714
rect 1922 -2086 2000 -714
rect 1756 -2156 2000 -2086
rect -2000 -2328 -1928 -2156
rect 1928 -2328 2000 -2156
rect -2000 -2400 2000 -2328
rect -2360 -2460 -2060 -2448
rect 2060 -2448 2162 -392
rect 2322 -2448 2360 -392
rect 2060 -2460 2360 -2448
rect -2360 -2562 2360 -2460
rect -2360 -2722 -2162 -2562
rect 2162 -2722 2360 -2562
rect -2360 -2728 2360 -2722
rect -2400 -2838 2400 -2825
rect -2400 -3118 -2340 -2838
rect 2340 -3118 2400 -2838
rect -2400 -3178 2400 -3118
<< via1 >>
rect -2340 2838 2340 3118
rect -1928 2322 1928 2328
rect -1928 2162 -1762 2322
rect -1762 2162 1762 2322
rect 1762 2162 1928 2322
rect -1928 2156 1928 2162
rect -1445 700 -1045 860
rect 1045 700 1445 860
rect 35 638 955 644
rect 35 478 955 638
rect 35 472 955 478
rect -965 278 -45 284
rect -965 118 -45 278
rect -965 112 -45 118
rect 35 -118 955 -112
rect 35 -278 955 -118
rect 35 -284 955 -278
rect -965 -478 -45 -472
rect -965 -638 -45 -478
rect -965 -644 -45 -638
rect -1445 -860 -1045 -700
rect 1045 -860 1445 -700
rect -1928 -2162 1928 -2156
rect -1928 -2322 -1762 -2162
rect -1762 -2322 1762 -2162
rect 1762 -2322 1928 -2162
rect -1928 -2328 1928 -2322
rect -2340 -3118 2340 -2838
<< metal2 >>
rect -2400 3118 2400 3178
rect -2400 2838 -2340 3118
rect 2340 2838 2400 3118
rect -2400 2328 2400 2838
rect -2400 2156 -1928 2328
rect 1928 2156 2400 2328
rect -2400 2150 2400 2156
rect -1928 2146 1928 2150
rect -1445 860 -1045 870
rect -1445 284 -1045 700
rect 1045 860 1445 870
rect 35 644 955 654
rect -2400 -284 -1045 284
rect -1445 -700 -1045 -284
rect -965 284 -45 294
rect -965 -472 -45 112
rect 35 -112 955 472
rect 35 -294 955 -284
rect 1045 284 1445 700
rect 1045 -284 2400 284
rect -965 -654 -45 -644
rect -1445 -870 -1045 -860
rect 1045 -700 1445 -284
rect 1045 -870 1445 -860
rect -1928 -2150 1928 -2146
rect -2400 -2156 2400 -2150
rect -2400 -2328 -1928 -2156
rect 1928 -2328 2400 -2156
rect -2400 -2838 2400 -2328
rect -2400 -3118 -2340 -2838
rect 2340 -3118 2400 -2838
rect -2400 -3178 2400 -3118
<< labels >>
flabel metal2 -2400 -284 -2397 284 3 FreeSans 400 0 0 0 clamp
port 1 e
flabel metal2 -2392 -2814 -2386 -2808 1 FreeSans 480 0 0 0 VSS
port 3 n ground bidirectional
flabel metal2 -2376 2812 -2370 2816 1 FreeSans 480 0 0 0 VDD
port 2 n power bidirectional
<< end >>
